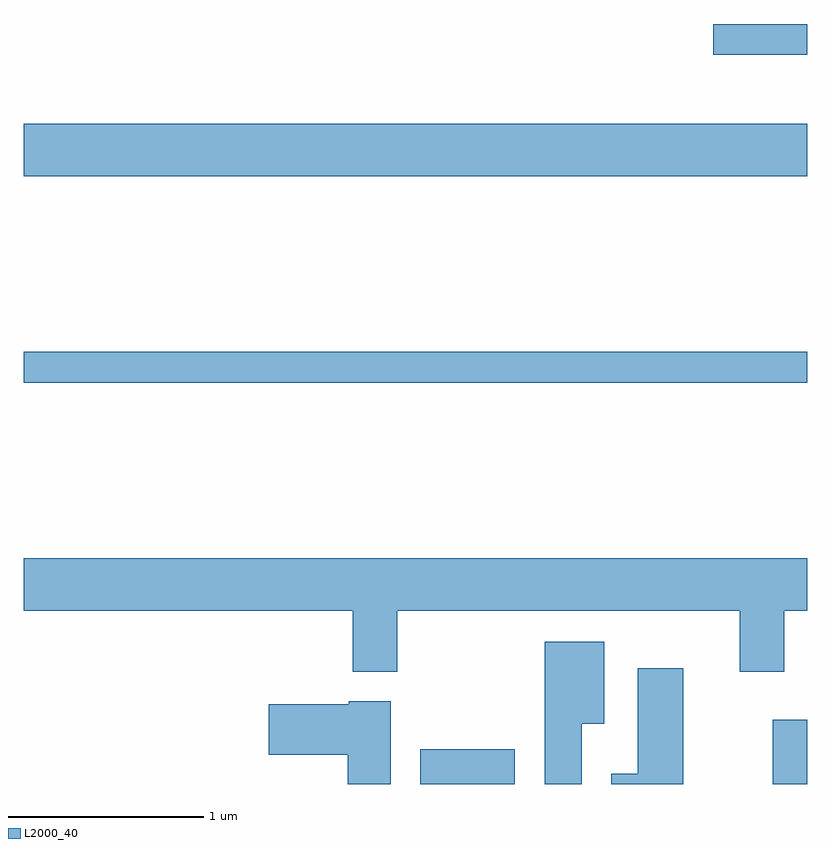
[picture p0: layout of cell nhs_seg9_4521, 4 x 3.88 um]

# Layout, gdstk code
import gdstk
lib = gdstk.Library(unit=1e-6, precision=1e-09)
def R(c, l, rs):  # rectangles x0, y0, x1, y1
    for r in rs: c.add(gdstk.rectangle(r[:2], r[2:], *l))
def P(c, l, *ps):  # polygons
    for p in ps: c.add(gdstk.Polygon(p, *l))
L2000_40 = (2000, 40)

nhs_seg9_4521 = lib.new_cell('nhs_seg9_4521')
R(nhs_seg9_4521, L2000_40, [(319.636,2046.432,320.119,2046.609), (321.436,2046.432,321.611,2046.759), (317.611,2048.481,321.611,2048.639), (317.611,2049.536,321.611,2049.804), (321.133,2050.156,321.611,2050.314)])
P(nhs_seg9_4521, L2000_40, [(319.519,2047.316),(321.266,2047.316),(321.266,2047.006),(321.494,2047.006),(321.494,2047.316),(321.611,2047.316),(321.611,2047.584),(317.611,2047.584),(317.611,2047.316),(319.291,2047.316),(319.291,2047.006),(319.519,2047.006)],
  [(320.459,2046.741),(320.574,2046.741),(320.574,2047.159),(320.271,2047.159),(320.271,2046.432),(320.459,2046.432)],
  [(320.979,2047.024),(320.746,2047.024),(320.746,2046.484),(320.611,2046.484),(320.611,2046.432),(320.979,2046.432)],
  [(319.484,2046.854),(319.27,2046.854),(319.27,2046.839),(318.861,2046.839),(318.861,2046.581),(319.266,2046.581),(319.266,2046.432),(319.484,2046.432)])

lib.write_gds('nhs_seg9_4521.gds')
